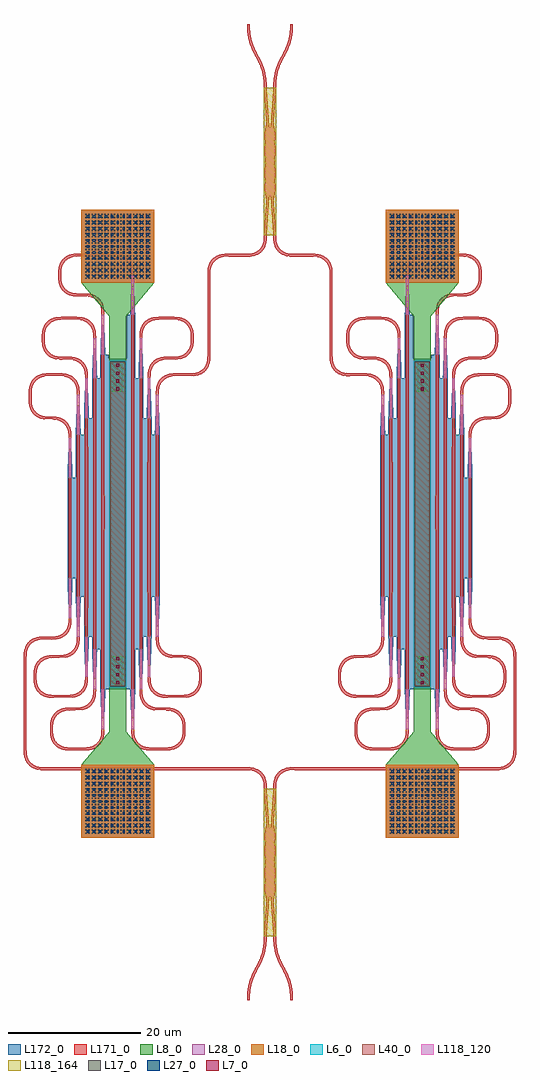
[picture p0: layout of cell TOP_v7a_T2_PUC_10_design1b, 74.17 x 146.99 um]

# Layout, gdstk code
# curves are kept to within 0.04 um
import gdstk
lib = gdstk.Library(unit=1e-6, precision=1e-09)
def R(c, l, rs):  # rectangles x0, y0, x1, y1
    for r in rs: c.add(gdstk.rectangle(r[:2], r[2:], *l))
def A(c, l, x, y, w, h, nx, ny, dx, dy):  # array of equal rectangles
    R(c, l, [(x+i*dx, y+j*dy, x+i*dx+w, y+j*dy+h) for i in range(nx) for j in range(ny)])
def P(c, l, *ps):  # polygons
    for p in ps: c.add(gdstk.Polygon(p, *l))
L6_0 = (6, 0)
L7_0 = (7, 0)
L8_0 = (8, 0)
L17_0 = (17, 0)
L18_0 = (18, 0)
L27_0 = (27, 0)
L28_0 = (28, 0)
L40_0 = (40, 0)
L118_120 = (118, 120)
L118_164 = (118, 164)
L171_0 = (171, 0)
L172_0 = (172, 0)

top_v7a_t2_puc_10_design = lib.new_cell('TOP_v7a_T2_PUC_10_design1b')
R(top_v7a_t2_puc_10_design, L6_0, [(-24.175,-26.39,-21.675,-26.29), (21.675,-26.39,24.175,-26.29), (-24.175,-26.29,-21.675,-23.79), (21.675,-26.29,24.175,-23.79), (-24.175,-23.79,-21.675,20.21), (21.675,-23.79,24.175,20.21), (-24.175,20.21,-21.675,22.71), (21.675,20.21,24.175,22.71), (-24.175,22.71,-21.675,22.81), (21.675,22.71,24.175,22.81)])
A(top_v7a_t2_puc_10_design, L7_0, -23.165, -25.94, 0.48, 0.48, 1, 4, 0, 1.2)
A(top_v7a_t2_puc_10_design, L7_0, 22.685, -25.94, 0.48, 0.48, 1, 4, 0, 1.2)
A(top_v7a_t2_puc_10_design, L7_0, -23.165, 18.28, 0.48, 0.48, 1, 4, 0, 1.2)
A(top_v7a_t2_puc_10_design, L7_0, 22.685, 18.28, 0.48, 0.48, 1, 4, 0, 1.2)
R(top_v7a_t2_puc_10_design, L8_0, [(-28.425,-49.09,-17.425,-38.09), (17.425,-49.09,28.425,-38.09), (-24.175,-33.09,-21.675,-26.09), (21.675,-33.09,24.175,-26.09), (-24.175,-26.09,-21.675,-21.71), (21.675,-26.09,24.175,-21.71), (-24.175,18.13,-21.675,22.51), (21.675,18.13,24.175,22.51), (-24.175,22.51,-21.675,29.51), (21.675,22.51,24.175,29.51), (-28.425,34.51,-17.425,45.51), (17.425,34.51,28.425,45.51)])
P(top_v7a_t2_puc_10_design, L8_0, [(21.675,29.51),(17.425,34.51),(28.425,34.51),(24.175,29.51)],
  [(17.425,-38.09),(21.675,-33.09),(24.175,-33.09),(28.425,-38.09)],
  [(-24.175,29.51),(-28.425,34.51),(-17.425,34.51),(-21.675,29.51)],
  [(-28.425,-38.09),(-24.175,-33.09),(-21.675,-33.09),(-17.425,-38.09)])
A(top_v7a_t2_puc_10_design, L17_0, -27.825, -48.49, 0.2, 0.2, 21, 21, 0.48, 0.48)
A(top_v7a_t2_puc_10_design, L17_0, 18.025, -48.49, 0.2, 0.2, 21, 21, 0.48, 0.48)
A(top_v7a_t2_puc_10_design, L17_0, -27.825, 35.11, 0.2, 0.2, 21, 21, 0.48, 0.48)
A(top_v7a_t2_puc_10_design, L17_0, 18.025, 35.11, 0.2, 0.2, 21, 21, 0.48, 0.48)
R(top_v7a_t2_puc_10_design, L18_0, [(-28.425,-49.09,-17.425,-38.09), (17.425,-49.09,28.425,-38.09), (-28.425,34.51,-17.425,45.51), (17.425,34.51,28.425,45.51)])
A(top_v7a_t2_puc_10_design, L27_0, -27.605, -48.27, 0.36, 0.36, 11, 11, 0.9, 0.9)
A(top_v7a_t2_puc_10_design, L27_0, 18.245, -48.27, 0.36, 0.36, 11, 11, 0.9, 0.9)
A(top_v7a_t2_puc_10_design, L27_0, -27.605, 35.33, 0.36, 0.36, 11, 11, 0.9, 0.9)
A(top_v7a_t2_puc_10_design, L27_0, 18.245, 35.33, 0.36, 0.36, 11, 11, 0.9, 0.9)
R(top_v7a_t2_puc_10_design, L28_0, [(-28.425,-49.09,-17.425,-38.09), (17.425,-49.09,28.425,-38.09), (-28.425,34.51,-17.425,45.51), (17.425,34.51,28.425,45.51)])
R(top_v7a_t2_puc_10_design, L40_0, [(-24.025,-26.24,-21.825,22.66), (21.825,-26.24,24.025,22.66), (-23.365,-26.14,-22.485,-21.66), (22.485,-26.14,23.365,-21.66), (-23.365,18.08,-22.485,22.56), (22.485,18.08,23.365,22.56)])
R(top_v7a_t2_puc_10_design, L118_120, [(-25.38,-32.686,-24.97,-26.665), (-20.88,-32.686,-20.47,-26.665), (20.47,-32.686,20.88,-26.665), (24.97,-32.686,25.38,-26.665), (-26.615,-26.686,-26.205,-20.665), (-19.645,-26.686,-19.235,-20.665), (19.235,-26.686,19.645,-20.665), (26.205,-26.686,26.615,-20.665), (-27.85,-24.776,-27.44,-18.755), (-18.41,-24.776,-18,-18.755), (18,-24.776,18.41,-18.755), (27.44,-24.776,27.85,-18.755), (-29.085,-18.776,-28.675,-12.755), (-17.175,-18.776,-16.765,-12.755), (16.765,-18.776,17.175,-12.755), (28.675,-18.776,29.085,-12.755), (-30.325,-15.997,-29.915,-9.976), (29.915,-15.997,30.325,-9.976), (-30.325,5.124,-29.915,11.145), (29.915,5.124,30.325,11.145), (-29.085,11.645,-28.675,17.666), (-17.175,11.645,-16.765,17.666), (16.765,11.645,17.175,17.666), (28.675,11.645,29.085,17.666), (-27.85,14.145,-27.44,20.166), (-18.41,14.145,-18,20.166), (18,14.145,18.41,20.166), (27.44,14.145,27.85,20.166), (-26.615,20.145,-26.205,26.166), (-19.645,20.145,-19.235,26.166), (19.235,20.145,19.645,26.166), (26.205,20.145,26.615,26.166), (-25.38,23.672,-24.97,29.693), (24.97,23.672,25.38,29.693), (-20.88,29.672,-20.47,35.693), (20.47,29.672,20.88,35.693)])
R(top_v7a_t2_puc_10_design, L118_164, [(-0.91,-63.865,0.91,-41.665), (-0.91,41.666,0.91,63.866)])
R(top_v7a_t2_puc_10_design, L171_0, [(-33.88,-38.87,-3.705,-38.46), (3.705,-38.87,33.88,-38.46), (-37.085,-35.665,-36.675,-34.665), (36.675,-35.665,37.085,-34.665), (-24.075,-26.19,-21.775,-23.79), (21.775,-26.19,24.075,-23.79), (-24.075,-23.79,-21.775,20.21), (21.775,-23.79,24.075,20.21), (-25.38,11.645,-24.97,23.672), (-20.88,11.645,-20.47,29.672), (20.47,11.645,20.88,29.672), (24.97,11.645,25.38,23.672), (-24.075,20.21,-21.775,22.61), (21.775,20.21,24.075,22.61), (-25.38,23.672,-24.97,29.693), (24.97,23.672,25.38,29.693), (-9.41,28.666,-9,35.666), (9,28.666,9.41,35.666), (-20.88,29.672,-20.47,35.693), (20.47,29.672,20.88,35.693), (-28.675,32.488,-28.175,32.898), (28.175,32.488,28.675,32.898), (-6.205,38.461,-3.705,38.871), (3.705,38.461,6.205,38.871), (-28.675,38.488,-23.675,38.898), (23.675,38.488,28.675,38.898)])
P(top_v7a_t2_puc_10_design, L171_0, [(15.772,-35.892),(14.937,-35.841),(14.353,-35.685),(13.787,-35.372),(13.32,-34.925),(13.029,-34.471),(12.816,-33.855),(12.742,-33.244),(12.745,-32.072),(12.841,-31.408),(13.029,-30.901),(13.389,-30.364),(13.831,-29.968),(14.353,-29.687),(14.937,-29.531),(17.175,-29.455),(17.961,-29.247),(18.433,-28.944),(18.839,-28.492),(19.09,-27.989),(19.209,-27.421),(19.209,26.901),(19.09,27.469),(18.839,27.972),(18.433,28.424),(17.918,28.747),(17.514,28.881),(16.98,28.95),(14.312,28.956),(13.402,28.816),(13.018,28.64),(12.642,28.361),(12.36,28.048),(12.124,27.644),(11.99,27.24),(11.921,26.706),(11.921,25.626),(12.014,24.997),(12.28,24.399),(12.677,23.939),(13.142,23.625),(13.679,23.441),(16.098,23.336),(16.64,23.22),(17.085,23.027),(17.607,22.644),(18.011,22.14),(18.275,21.549),(18.392,20.892),(18.455,4.953),(18.407,-25.223),(18.29,-26.108),(17.983,-26.795),(17.444,-27.396),(16.742,-27.794),(15.763,-27.974),(13.191,-27.981),(12.467,-27.931),(11.783,-27.733),(11.108,-27.291),(10.609,-26.656),(10.346,-25.945),(10.264,-24.944),(10.288,-23.994),(10.416,-23.341),(10.722,-22.711),(11.189,-22.19),(11.685,-21.865),(12.356,-21.641),(12.912,-21.578),(14.705,-21.545),(15.448,-21.357),(15.89,-21.093),(16.287,-20.696),(16.551,-20.254),(16.713,-19.705),(16.765,-18.825),(16.765,17.715),(16.713,18.595),(16.551,19.144),(16.228,19.659),(15.776,20.065),(15.273,20.316),(14.51,20.45),(11.423,20.484),(10.77,20.612),(10.231,20.86),(9.69,21.304),(9.294,21.881),(9.081,22.497),(9.003,23.219),(9,28.666),(9.41,28.666),(9.424,23.078),(9.555,22.363),(9.888,21.746),(10.478,21.216),(11.179,20.941),(11.812,20.876),(14.584,20.861),(15.139,20.79),(15.657,20.623),(16.166,20.32),(16.624,19.862),(16.969,19.253),(17.125,18.669),(17.176,17.834),(17.176,-18.944),(17.125,-19.779),(16.969,-20.363),(16.688,-20.885),(16.292,-21.327),(15.755,-21.687),(15.302,-21.861),(14.752,-21.958),(12.541,-22.033),(11.992,-22.195),(11.55,-22.459),(11.125,-22.894),(10.82,-23.473),(10.701,-24.041),(10.676,-24.972),(10.755,-25.85),(11.045,-26.543),(11.588,-27.121),(12.301,-27.467),(13.274,-27.57),(16.037,-27.533),(16.81,-27.295),(17.125,-27.093),(17.463,-26.769),(17.702,-26.422),(17.883,-25.99),(17.999,-24.972),(17.955,-9.563),(17.989,20.706),(17.896,21.335),(17.702,21.812),(17.336,22.297),(16.932,22.616),(16.508,22.816),(16.037,22.923),(13.979,22.979),(13.168,23.148),(12.686,23.388),(12.303,23.688),(11.987,24.057),(11.748,24.479),(11.535,25.273),(11.5,26.445),(11.57,27.28),(11.794,27.951),(12.227,28.568),(12.778,29),(13.427,29.265),(14.258,29.368),(17.054,29.361),(17.609,29.29),(18.127,29.123),(18.721,28.752),(19.158,28.275),(19.494,27.601),(19.622,26.948),(19.645,-26.965),(19.575,-27.8),(19.351,-28.471),(18.991,-29.008),(18.459,-29.464),(17.977,-29.704),(17.388,-29.849),(15.4,-29.902),(14.866,-29.971),(14.253,-30.212),(13.713,-30.658),(13.359,-31.208),(13.171,-31.951),(13.159,-33.274),(13.306,-34.033),(13.541,-34.492),(13.877,-34.881),(14.253,-35.16),(14.726,-35.364),(15.547,-35.476),(18.215,-35.47),(18.978,-35.336),(19.668,-34.944),(20.149,-34.373),(20.418,-33.615),(20.47,-32.735),(20.425,-2.563),(20.47,11.645),(20.88,11.645),(20.925,-2.563),(20.857,-33.468),(20.729,-34.121),(20.423,-34.751),(19.997,-35.237),(19.46,-35.597),(19.007,-35.771),(18.401,-35.873)],
  [(28.007,-35.892),(27.282,-35.856),(26.792,-35.756),(26.295,-35.547),(25.853,-35.237),(25.489,-34.839),(25.218,-34.373),(25.051,-33.855),(24.98,-33.3),(24.925,-2.563),(24.97,11.645),(25.38,11.645),(25.425,2.453),(25.38,-32.735),(25.432,-33.615),(25.701,-34.373),(26.182,-34.944),(26.872,-35.336),(27.635,-35.47),(30.303,-35.476),(31.124,-35.364),(31.597,-35.16),(31.973,-34.881),(32.309,-34.492),(32.544,-34.033),(32.691,-33.274),(32.679,-31.951),(32.491,-31.208),(32.137,-30.658),(31.597,-30.212),(30.984,-29.971),(30.45,-29.902),(28.462,-29.849),(27.873,-29.704),(27.391,-29.464),(26.859,-29.008),(26.499,-28.471),(26.275,-27.8),(26.205,-26.965),(26.228,26.948),(26.356,27.601),(26.692,28.275),(27.129,28.752),(27.723,29.123),(28.241,29.29),(28.796,29.361),(31.759,29.361),(32.477,29.251),(33.119,28.972),(33.66,28.528),(34.056,27.951),(34.28,27.28),(34.35,26.445),(34.315,25.273),(34.102,24.479),(33.863,24.057),(33.547,23.688),(33.164,23.388),(32.682,23.148),(31.871,22.979),(29.813,22.923),(29.342,22.816),(28.958,22.64),(28.514,22.297),(28.171,21.853),(27.954,21.335),(27.864,20.754),(27.876,-25.511),(27.954,-25.945),(28.104,-26.339),(28.328,-26.696),(28.652,-27.034),(29.342,-27.426),(30.252,-27.566),(32.92,-27.56),(33.727,-27.41),(34.186,-27.175),(34.638,-26.769),(34.961,-26.254),(35.123,-25.705),(35.174,-24.58),(35.095,-23.702),(34.854,-23.089),(34.443,-22.581),(33.943,-22.235),(33.406,-22.051),(30.987,-21.946),(30.548,-21.861),(30.095,-21.687),(29.558,-21.327),(29.162,-20.885),(28.881,-20.363),(28.725,-19.779),(28.674,-18.944),(28.674,17.834),(28.756,18.835),(29.074,19.64),(29.329,19.988),(29.684,20.32),(30.445,20.72),(31.433,20.868),(34.013,20.836),(34.807,20.623),(35.522,20.144),(35.838,19.775),(36.077,19.353),(36.219,18.944),(36.307,18.392),(36.29,16.252),(36.174,15.71),(35.898,15.126),(35.316,14.491),(34.555,14.091),(33.846,13.958),(32.191,13.888),(31.433,13.619),(30.989,13.276),(30.695,12.912),(30.47,12.448),(30.363,11.977),(30.33,-16.39),(30.405,-17.071),(30.579,-17.56),(30.925,-18.06),(31.393,-18.447),(31.817,-18.647),(32.288,-18.754),(34.606,-18.81),(35.417,-18.979),(35.899,-19.219),(36.282,-19.519),(36.628,-19.932),(36.898,-20.46),(37.035,-20.994),(37.085,-21.718),(37.085,-34.665),(36.675,-34.665),(36.674,-21.801),(36.623,-21.068),(36.497,-20.606),(36.305,-20.23),(36.011,-19.866),(35.647,-19.572),(35.183,-19.347),(34.42,-19.213),(32.172,-19.16),(31.583,-19.015),(31.101,-18.775),(30.569,-18.319),(30.209,-17.782),(29.996,-17.166),(29.918,-16.444),(29.914,11.313),(29.957,12.093),(30.102,12.682),(30.372,13.21),(30.718,13.623),(31.193,13.979),(31.685,14.199),(32.117,14.3),(33.708,14.364),(34.379,14.481),(35.04,14.828),(35.519,15.339),(35.754,15.798),(35.877,16.313),(35.901,18.254),(35.835,18.74),(35.701,19.144),(35.465,19.548),(35.183,19.861),(34.598,20.247),(33.855,20.435),(31.684,20.46),(30.806,20.381),(30.193,20.14),(29.685,19.729),(29.339,19.229),(29.137,18.595),(29.085,17.715),(29.086,-18.972),(29.146,-19.754),(29.339,-20.339),(29.685,-20.839),(30.193,-21.25),(30.577,-21.426),(31.096,-21.539),(32.994,-21.581),(33.658,-21.677),(34.307,-21.942),(34.858,-22.374),(35.291,-22.991),(35.515,-23.662),(35.585,-24.497),(35.535,-25.779),(35.379,-26.363),(35.034,-26.972),(34.576,-27.43),(34.067,-27.733),(33.549,-27.9),(32.994,-27.971),(30.477,-27.982),(29.313,-27.861),(28.86,-27.687),(28.449,-27.43),(28.094,-27.098),(27.784,-26.656),(27.591,-26.211),(27.482,-25.724),(27.395,-9.563),(27.475,21.059),(27.627,21.703),(27.927,22.275),(28.323,22.717),(28.86,23.077),(29.313,23.251),(29.863,23.348),(32.074,23.423),(32.623,23.585),(33.065,23.849),(33.462,24.246),(33.744,24.731),(33.888,25.237),(33.939,25.97),(33.902,26.998),(33.726,27.644),(33.34,28.229),(32.791,28.663),(32.314,28.857),(31.685,28.95),(28.578,28.923),(27.805,28.685),(27.49,28.483),(27.152,28.159),(26.76,27.469),(26.62,26.559),(26.629,-27.274),(26.732,-27.9),(26.96,-28.413),(27.347,-28.881),(27.847,-29.227),(28.241,-29.377),(28.675,-29.455),(30.468,-29.488),(31.079,-29.562),(31.695,-29.775),(32.232,-30.135),(32.658,-30.621),(32.964,-31.251),(33.092,-31.904),(33.116,-32.854),(33.045,-33.8),(32.821,-34.471),(32.388,-35.088),(31.837,-35.52),(31.293,-35.756),(30.692,-35.868)],
  [(20.47,35.693),(20.493,36.475),(20.605,37.076),(20.841,37.62),(21.197,38.095),(21.656,38.471),(22.24,38.747),(22.893,38.875),(23.675,38.898),(23.675,38.488),(22.94,38.462),(22.416,38.357),(21.948,38.143),(21.544,37.824),(21.225,37.42),(21.011,36.952),(20.906,36.428),(20.88,35.693)],
  [(31.47,35.693),(31.444,36.428),(31.366,36.862),(31.194,37.298),(30.933,37.686),(30.481,38.092),(29.978,38.343),(29.41,38.462),(28.675,38.488),(28.675,38.898),(29.457,38.875),(30.11,38.747),(30.74,38.441),(31.226,38.015),(31.674,37.28),(31.857,36.475),(31.88,35.693)],
  [(28.787,32.487),(28.675,32.488),(28.675,32.898),(29.41,32.924),(29.934,33.029),(30.402,33.243),(30.806,33.562),(31.125,33.966),(31.339,34.434),(31.444,34.958),(31.47,35.693),(31.88,35.693),(31.857,34.911),(31.745,34.31),(31.509,33.766),(31.153,33.291),(30.694,32.915),(30.11,32.639),(29.568,32.523)],
  [(24.97,29.693),(24.993,30.475),(25.105,31.076),(25.341,31.62),(25.697,32.095),(26.156,32.471),(26.74,32.747),(27.393,32.875),(28.175,32.898),(28.175,32.488),(27.44,32.462),(26.916,32.357),(26.448,32.143),(26.044,31.824),(25.725,31.42),(25.511,30.952),(25.406,30.428),(25.38,29.693)],
  [(21.775,22.61),(21.798,22.674),(21.875,22.71),(23.975,22.71),(24.039,22.687),(24.075,22.61)],
  [(21.875,-26.29),(21.811,-26.267),(21.775,-26.19),(24.075,-26.19),(24.052,-26.254),(23.975,-26.29)],
  [(-17.843,-35.892),(-18.568,-35.856),(-19.058,-35.756),(-19.555,-35.547),(-19.997,-35.237),(-20.361,-34.839),(-20.632,-34.373),(-20.799,-33.855),(-20.87,-33.3),(-20.925,-2.563),(-20.88,11.645),(-20.47,11.645),(-20.425,2.453),(-20.47,-32.735),(-20.418,-33.615),(-20.149,-34.373),(-19.668,-34.944),(-18.978,-35.336),(-18.215,-35.47),(-15.547,-35.476),(-14.726,-35.364),(-14.253,-35.16),(-13.877,-34.881),(-13.541,-34.492),(-13.306,-34.033),(-13.159,-33.274),(-13.171,-31.951),(-13.359,-31.208),(-13.713,-30.658),(-14.253,-30.212),(-14.866,-29.971),(-15.4,-29.902),(-17.388,-29.849),(-17.977,-29.704),(-18.459,-29.464),(-18.991,-29.008),(-19.351,-28.471),(-19.575,-27.8),(-19.645,-26.965),(-19.622,26.948),(-19.494,27.601),(-19.158,28.275),(-18.721,28.752),(-18.127,29.123),(-17.609,29.29),(-17.054,29.361),(-14.091,29.361),(-13.373,29.251),(-12.731,28.972),(-12.19,28.528),(-11.794,27.951),(-11.57,27.28),(-11.5,26.445),(-11.535,25.273),(-11.748,24.479),(-11.987,24.057),(-12.303,23.688),(-12.686,23.388),(-13.168,23.148),(-13.979,22.979),(-16.037,22.923),(-16.508,22.816),(-16.892,22.64),(-17.336,22.297),(-17.679,21.853),(-17.896,21.335),(-17.986,20.754),(-17.986,-25.364),(-17.92,-25.85),(-17.786,-26.254),(-17.336,-26.907),(-17.011,-27.175),(-16.64,-27.375),(-16.231,-27.501),(-15.745,-27.56),(-12.93,-27.56),(-12.123,-27.41),(-11.664,-27.175),(-11.212,-26.769),(-10.889,-26.254),(-10.727,-25.705),(-10.676,-24.58),(-10.755,-23.702),(-10.996,-23.089),(-11.407,-22.581),(-11.907,-22.235),(-12.444,-22.051),(-14.863,-21.946),(-15.302,-21.861),(-15.755,-21.687),(-16.292,-21.327),(-16.688,-20.885),(-16.969,-20.363),(-17.125,-19.779),(-17.176,-18.944),(-17.172,18.113),(-17.069,18.944),(-16.804,19.593),(-16.372,20.144),(-15.755,20.577),(-15.302,20.751),(-14.696,20.853),(-11.812,20.876),(-11.179,20.941),(-10.478,21.216),(-9.888,21.746),(-9.555,22.363),(-9.424,23.078),(-9.41,28.666),(-9,28.666),(-9.018,22.94),(-9.151,22.231),(-9.519,21.513),(-9.803,21.188),(-10.186,20.888),(-10.618,20.667),(-11.036,20.542),(-11.758,20.464),(-14.558,20.447),(-15.044,20.381),(-15.533,20.207),(-16.033,19.861),(-16.444,19.353),(-16.685,18.74),(-16.76,18.059),(-16.765,-18.825),(-16.713,-19.705),(-16.551,-20.254),(-16.287,-20.696),(-15.89,-21.093),(-15.448,-21.357),(-14.705,-21.545),(-12.912,-21.578),(-12.301,-21.652),(-11.685,-21.865),(-11.148,-22.225),(-10.692,-22.757),(-10.385,-23.444),(-10.275,-24.162),(-10.275,-25.39),(-10.346,-25.945),(-10.513,-26.463),(-10.752,-26.885),(-11.068,-27.254),(-11.451,-27.554),(-11.883,-27.775),(-12.356,-27.911),(-12.912,-27.974),(-15.763,-27.974),(-16.319,-27.911),(-16.792,-27.775),(-17.401,-27.43),(-17.859,-26.972),(-18.204,-26.363),(-18.36,-25.779),(-18.411,-24.944),(-18.455,-9.563),(-18.375,21.059),(-18.223,21.703),(-17.923,22.275),(-17.527,22.717),(-16.99,23.077),(-16.537,23.251),(-16.098,23.336),(-13.679,23.441),(-13.142,23.625),(-12.712,23.908),(-12.306,24.36),(-12.055,24.863),(-11.936,25.431),(-11.911,26.362),(-11.99,27.24),(-12.306,27.972),(-12.574,28.297),(-12.899,28.565),(-13.631,28.881),(-14.509,28.96),(-17.369,28.909),(-17.787,28.8),(-18.167,28.616),(-18.785,28.048),(-19.131,27.335),(-19.234,26.362),(-19.209,-27.421),(-19.09,-27.989),(-18.839,-28.492),(-18.433,-28.944),(-18.003,-29.227),(-17.609,-29.377),(-17.175,-29.455),(-15.382,-29.488),(-14.826,-29.551),(-14.253,-29.729),(-13.744,-30.032),(-13.286,-30.49),(-12.983,-30.999),(-12.785,-31.683),(-12.735,-32.407),(-12.758,-33.468),(-12.922,-34.223),(-13.286,-34.882),(-13.831,-35.404),(-14.403,-35.704),(-15.047,-35.856)],
  [(-30.078,-35.892),(-31.024,-35.821),(-31.695,-35.597),(-32.312,-35.164),(-32.744,-34.613),(-32.995,-34.018),(-33.108,-33.244),(-33.092,-31.904),(-32.909,-31.099),(-32.658,-30.621),(-32.312,-30.208),(-31.929,-29.908),(-31.447,-29.668),(-30.636,-29.499),(-28.481,-29.429),(-28.063,-29.32),(-27.643,-29.111),(-27.183,-28.714),(-26.869,-28.249),(-26.695,-27.76),(-26.62,-27.079),(-26.62,26.559),(-26.732,27.38),(-27.093,28.086),(-27.723,28.64),(-28.481,28.909),(-29.214,28.96),(-31.685,28.95),(-32.314,28.857),(-32.791,28.663),(-33.34,28.229),(-33.726,27.644),(-33.902,26.998),(-33.939,25.97),(-33.888,25.237),(-33.744,24.731),(-33.462,24.246),(-33.065,23.849),(-32.623,23.585),(-32.074,23.423),(-29.863,23.348),(-29.313,23.251),(-28.86,23.077),(-28.323,22.717),(-27.927,22.275),(-27.627,21.703),(-27.475,21.059),(-27.395,-9.563),(-27.482,-25.724),(-27.591,-26.211),(-27.784,-26.656),(-28.094,-27.098),(-28.449,-27.43),(-28.86,-27.687),(-29.313,-27.861),(-30.477,-27.982),(-32.994,-27.971),(-33.549,-27.9),(-34.067,-27.733),(-34.576,-27.43),(-35.034,-26.972),(-35.379,-26.363),(-35.535,-25.779),(-35.585,-24.497),(-35.515,-23.662),(-35.291,-22.991),(-34.858,-22.374),(-34.307,-21.942),(-33.658,-21.677),(-32.994,-21.581),(-31.096,-21.539),(-30.577,-21.426),(-30.193,-21.25),(-29.685,-20.839),(-29.339,-20.339),(-29.146,-19.754),(-29.086,-18.972),(-29.085,17.715),(-29.137,18.595),(-29.339,19.229),(-29.685,19.729),(-30.193,20.14),(-30.806,20.381),(-31.684,20.46),(-33.855,20.435),(-34.598,20.247),(-35.183,19.861),(-35.465,19.548),(-35.701,19.144),(-35.835,18.74),(-35.901,18.254),(-35.877,16.313),(-35.754,15.798),(-35.519,15.339),(-35.04,14.828),(-34.379,14.481),(-33.708,14.364),(-32.117,14.3),(-31.685,14.199),(-31.193,13.979),(-30.718,13.623),(-30.372,13.21),(-30.102,12.682),(-29.957,12.093),(-29.914,11.313),(-29.918,-16.444),(-29.996,-17.166),(-30.209,-17.782),(-30.569,-18.319),(-31.101,-18.775),(-31.583,-19.015),(-32.172,-19.16),(-34.42,-19.213),(-35.183,-19.347),(-35.647,-19.572),(-36.011,-19.866),(-36.305,-20.23),(-36.497,-20.606),(-36.623,-21.068),(-36.674,-21.801),(-36.675,-34.665),(-37.085,-34.665),(-37.085,-21.718),(-37.035,-20.994),(-36.898,-20.46),(-36.658,-19.978),(-36.358,-19.595),(-35.945,-19.249),(-35.417,-18.979),(-34.606,-18.81),(-32.288,-18.754),(-31.817,-18.647),(-31.393,-18.447),(-30.925,-18.06),(-30.579,-17.56),(-30.405,-17.071),(-30.33,-16.39),(-30.363,11.977),(-30.47,12.448),(-30.695,12.912),(-30.989,13.276),(-31.433,13.619),(-32.191,13.888),(-33.846,13.958),(-34.555,14.091),(-35.316,14.491),(-35.898,15.126),(-36.174,15.71),(-36.29,16.252),(-36.307,18.392),(-36.219,18.944),(-36.077,19.353),(-35.838,19.775),(-35.522,20.144),(-34.807,20.623),(-34.013,20.836),(-31.433,20.868),(-30.445,20.72),(-29.684,20.32),(-29.329,19.988),(-29.074,19.64),(-28.756,18.835),(-28.674,17.834),(-28.674,-18.944),(-28.725,-19.779),(-28.881,-20.363),(-29.162,-20.885),(-29.558,-21.327),(-30.095,-21.687),(-30.548,-21.861),(-30.987,-21.946),(-33.406,-22.051),(-33.943,-22.235),(-34.443,-22.581),(-34.854,-23.089),(-35.095,-23.702),(-35.174,-24.58),(-35.123,-25.705),(-34.961,-26.254),(-34.638,-26.769),(-34.186,-27.175),(-33.727,-27.41),(-32.92,-27.56),(-30.252,-27.566),(-29.342,-27.426),(-28.652,-27.034),(-28.328,-26.696),(-28.104,-26.339),(-27.954,-25.945),(-27.876,-25.511),(-27.864,20.754),(-27.954,21.335),(-28.171,21.853),(-28.514,22.297),(-28.958,22.64),(-29.342,22.816),(-29.813,22.923),(-31.871,22.979),(-32.682,23.148),(-33.164,23.388),(-33.547,23.688),(-33.863,24.057),(-34.102,24.479),(-34.315,25.273),(-34.35,26.445),(-34.28,27.28),(-34.056,27.951),(-33.623,28.568),(-33.072,29),(-32.423,29.265),(-31.592,29.368),(-28.796,29.361),(-28.241,29.29),(-27.723,29.123),(-27.129,28.752),(-26.692,28.275),(-26.356,27.601),(-26.228,26.948),(-26.205,-26.965),(-26.275,-27.8),(-26.499,-28.471),(-26.859,-29.008),(-27.391,-29.464),(-27.873,-29.704),(-28.462,-29.849),(-30.45,-29.902),(-30.984,-29.971),(-31.597,-30.212),(-32.137,-30.658),(-32.491,-31.208),(-32.679,-31.951),(-32.691,-33.274),(-32.544,-34.033),(-32.309,-34.492),(-31.973,-34.881),(-31.597,-35.16),(-31.124,-35.364),(-30.303,-35.476),(-27.635,-35.47),(-26.872,-35.336),(-26.182,-34.944),(-25.701,-34.373),(-25.432,-33.615),(-25.38,-32.735),(-25.425,-2.563),(-25.38,11.645),(-24.97,11.645),(-24.925,-2.563),(-24.993,-33.468),(-25.121,-34.121),(-25.427,-34.751),(-25.853,-35.237),(-26.39,-35.597),(-26.843,-35.771),(-27.449,-35.873)],
  [(-20.88,35.693),(-20.906,36.428),(-20.984,36.862),(-21.156,37.298),(-21.417,37.686),(-21.869,38.092),(-22.372,38.343),(-22.94,38.462),(-23.675,38.488),(-23.675,38.898),(-22.893,38.875),(-22.24,38.747),(-21.61,38.441),(-21.124,38.015),(-20.676,37.28),(-20.493,36.475),(-20.47,35.693)],
  [(-31.88,35.693),(-31.857,36.475),(-31.745,37.076),(-31.509,37.62),(-31.153,38.095),(-30.694,38.471),(-30.11,38.747),(-29.457,38.875),(-28.675,38.898),(-28.675,38.488),(-29.41,38.462),(-29.934,38.357),(-30.402,38.143),(-30.806,37.824),(-31.125,37.42),(-31.339,36.952),(-31.444,36.428),(-31.47,35.693)],
  [(-28.843,32.487),(-29.568,32.523),(-30.11,32.639),(-30.694,32.915),(-31.153,33.291),(-31.509,33.766),(-31.745,34.31),(-31.857,34.911),(-31.88,35.693),(-31.47,35.693),(-31.444,34.958),(-31.339,34.434),(-31.125,33.966),(-30.806,33.562),(-30.402,33.243),(-29.934,33.029),(-29.41,32.924),(-28.675,32.898),(-28.675,32.488)],
  [(-25.38,29.693),(-25.406,30.428),(-25.484,30.862),(-25.656,31.298),(-25.917,31.686),(-26.369,32.092),(-26.872,32.343),(-27.44,32.462),(-28.175,32.488),(-28.175,32.898),(-27.393,32.875),(-26.74,32.747),(-26.11,32.441),(-25.624,32.015),(-25.176,31.28),(-24.993,30.475),(-24.97,29.693)],
  [(-24.075,22.61),(-24.052,22.674),(-23.975,22.71),(-21.875,22.71),(-21.811,22.687),(-21.775,22.61)],
  [(-23.975,-26.29),(-24.039,-26.267),(-24.075,-26.19),(-21.775,-26.19),(-21.798,-26.254),(-21.875,-26.29)],
  [(-0.91,-63.865),(-0.536,-58.675),(-0.731,-57.572),(-0.792,-56.52),(-0.728,-53.206),(-0.79,-48.899),(-0.731,-47.958),(-0.537,-46.801),(-0.91,-41.665),(-0.5,-41.665),(-0.144,-47.237),(-0.095,-47.531),(0,-47.637),(0.095,-47.531),(0.144,-47.237),(0.5,-41.665),(0.91,-41.665),(0.536,-46.855),(0.731,-47.958),(0.792,-49.01),(0.728,-52.324),(0.79,-56.631),(0.731,-57.572),(0.537,-58.729),(0.91,-63.865),(0.5,-63.865),(0.144,-58.293),(0.095,-57.999),(0,-57.893),(-0.095,-57.999),(-0.144,-58.293),(-0.5,-63.865)],
  [(-0.91,41.666),(-0.536,46.856),(-0.731,47.959),(-0.792,49.011),(-0.728,52.325),(-0.79,56.632),(-0.731,57.573),(-0.537,58.73),(-0.91,63.866),(-0.5,63.866),(-0.144,58.294),(-0.095,58),(0,57.894),(0.095,58),(0.144,58.294),(0.5,63.866),(0.91,63.866),(0.536,58.676),(0.731,57.573),(0.792,56.521),(0.728,53.207),(0.79,48.9),(0.731,47.959),(0.537,46.802),(0.91,41.666),(0.5,41.666),(0.144,47.238),(0.095,47.532),(0,47.638),(-0.095,47.532),(-0.144,47.238),(-0.5,41.666)],
  [(3.05,-73.495),(2.96,-72.047),(2.681,-70.758),(2.261,-69.679),(1.212,-67.589),(0.801,-66.417),(0.581,-65.267),(0.5,-63.865),(0.91,-63.865),(1,-65.313),(1.279,-66.602),(1.699,-67.681),(2.748,-69.771),(3.159,-70.943),(3.379,-72.093),(3.46,-73.495)],
  [(-3.46,-73.495),(-3.355,-71.915),(-3.061,-70.604),(-2.675,-69.608),(-1.648,-67.57),(-1.279,-66.602),(-1,-65.313),(-0.91,-63.865),(-0.5,-63.865),(-0.605,-65.445),(-0.899,-66.756),(-1.285,-67.752),(-2.312,-69.79),(-2.681,-70.758),(-2.96,-72.047),(-3.05,-73.495)],
  [(0.5,63.866),(0.605,65.446),(0.899,66.757),(1.285,67.753),(2.312,69.791),(2.681,70.759),(2.96,72.048),(3.05,73.496),(3.46,73.496),(3.355,71.916),(3.061,70.605),(2.675,69.609),(1.648,67.571),(1.279,66.603),(1,65.314),(0.91,63.866)],
  [(-0.91,63.866),(-1,65.314),(-1.279,66.603),(-1.699,67.682),(-2.748,69.772),(-3.159,70.944),(-3.379,72.094),(-3.46,73.496),(-3.05,73.496),(-2.96,72.048),(-2.681,70.759),(-2.261,69.68),(-1.212,67.59),(-0.801,66.418),(-0.581,65.268),(-0.5,63.866)],
  [(0.5,-41.665),(0.523,-40.883),(0.635,-40.282),(0.871,-39.738),(1.227,-39.263),(1.686,-38.887),(2.27,-38.611),(2.923,-38.483),(3.705,-38.46),(3.705,-38.87),(2.97,-38.896),(2.446,-39.001),(1.978,-39.215),(1.574,-39.534),(1.255,-39.938),(1.041,-40.406),(0.936,-40.93),(0.91,-41.665)],
  [(33.992,-38.871),(33.88,-38.87),(33.88,-38.46),(34.615,-38.434),(35.139,-38.329),(35.607,-38.115),(36.011,-37.796),(36.33,-37.392),(36.544,-36.924),(36.649,-36.4),(36.675,-35.665),(37.085,-35.665),(37.062,-36.447),(36.95,-37.048),(36.714,-37.592),(36.358,-38.067),(35.899,-38.443),(35.315,-38.719),(34.773,-38.835)],
  [(-0.91,-41.665),(-0.936,-40.93),(-1.014,-40.496),(-1.186,-40.06),(-1.447,-39.672),(-1.899,-39.266),(-2.402,-39.015),(-2.97,-38.896),(-3.705,-38.87),(-3.705,-38.46),(-2.923,-38.483),(-2.27,-38.611),(-1.64,-38.917),(-1.154,-39.343),(-0.706,-40.078),(-0.523,-40.883),(-0.5,-41.665)],
  [(-34.048,-38.871),(-34.773,-38.835),(-35.315,-38.719),(-35.899,-38.443),(-36.358,-38.067),(-36.714,-37.592),(-36.95,-37.048),(-37.062,-36.447),(-37.085,-35.665),(-36.675,-35.665),(-36.649,-36.4),(-36.544,-36.924),(-36.33,-37.392),(-36.011,-37.796),(-35.607,-38.115),(-35.139,-38.329),(-34.615,-38.434),(-33.88,-38.46),(-33.88,-38.87)],
  [(3.537,38.46),(2.812,38.496),(2.27,38.612),(1.686,38.888),(1.227,39.264),(0.871,39.739),(0.635,40.283),(0.523,40.884),(0.5,41.666),(0.91,41.666),(0.936,40.931),(1.041,40.407),(1.255,39.939),(1.574,39.535),(1.978,39.216),(2.446,39.002),(2.97,38.897),(3.705,38.871),(3.705,38.461)],
  [(9,35.666),(8.974,36.401),(8.896,36.835),(8.724,37.271),(8.463,37.659),(8.011,38.065),(7.508,38.316),(6.94,38.435),(6.205,38.461),(6.205,38.871),(6.987,38.848),(7.64,38.72),(8.27,38.414),(8.756,37.988),(9.204,37.253),(9.387,36.448),(9.41,35.666)],
  [(-3.593,38.46),(-3.705,38.461),(-3.705,38.871),(-2.97,38.897),(-2.446,39.002),(-1.978,39.216),(-1.574,39.535),(-1.255,39.939),(-1.041,40.407),(-0.936,40.931),(-0.91,41.666),(-0.5,41.666),(-0.523,40.884),(-0.635,40.283),(-0.871,39.739),(-1.227,39.264),(-1.686,38.888),(-2.27,38.612),(-2.812,38.496)],
  [(-9.41,35.666),(-9.387,36.448),(-9.275,37.049),(-9.039,37.593),(-8.683,38.068),(-8.224,38.444),(-7.64,38.72),(-6.987,38.848),(-6.205,38.871),(-6.205,38.461),(-6.94,38.435),(-7.464,38.33),(-7.932,38.116),(-8.336,37.797),(-8.655,37.393),(-8.869,36.925),(-8.974,36.401),(-9,35.666)])
R(top_v7a_t2_puc_10_design, L172_0, [(-24.55,-26.665,-21.3,-23.415), (21.3,-26.665,24.55,-23.415), (-24.55,-24.165,-21.3,20.585), (21.3,-24.165,24.55,20.585), (-25.537,11.645,-24.287,23.672), (-21.563,11.645,-20.313,29.672), (20.313,11.645,21.563,29.672), (24.287,11.645,25.537,23.672), (-24.55,19.835,-21.3,23.085), (21.3,19.835,24.55,23.085)])
P(top_v7a_t2_puc_10_design, L172_0, [(20.47,-31.085),(20.313,-26.731),(20.313,-20.665),(19.802,-20.665),(19.645,-25.085),(19.235,-25.085),(19.086,-21.105),(19.078,-18.755),(18.567,-18.755),(18.41,-23.175),(18,-23.175),(17.843,-18.821),(17.843,-12.755),(17.332,-12.755),(17.175,-17.175),(16.765,-17.175),(16.612,-13.026),(16.608,11.711),(16.764,16.053),(17.175,16.065),(17.332,11.645),(17.843,11.645),(17.847,14.416),(18,18.565),(18.41,18.565),(18.567,14.145),(19.078,14.145),(19.078,20.211),(19.235,24.565),(19.645,24.565),(19.802,20.145),(20.328,20.145),(20.328,11.645),(21.563,11.645),(21.563,-26.665),(21.037,-26.665),(20.88,-31.085)],
  [(24.97,-31.085),(24.813,-26.665),(24.287,-26.665),(24.287,11.645),(25.522,11.645),(25.522,20.145),(26.048,20.145),(26.205,24.565),(26.615,24.565),(26.772,20.211),(26.772,14.145),(27.283,14.145),(27.44,18.565),(27.85,18.565),(28.003,14.416),(28.007,11.645),(28.518,11.645),(28.675,16.065),(29.085,16.065),(29.242,11.711),(29.242,5.124),(29.758,5.124),(29.915,9.544),(30.325,9.544),(30.482,5.19),(30.464,-10.784),(30.325,-14.396),(29.915,-14.396),(29.758,-9.976),(29.242,-9.976),(29.238,-13.026),(29.085,-17.175),(28.675,-17.175),(28.518,-12.755),(28.007,-12.755),(28.007,-18.821),(27.85,-23.175),(27.44,-23.175),(27.283,-18.755),(26.772,-18.755),(26.764,-21.105),(26.615,-25.085),(26.205,-25.085),(26.048,-20.665),(25.537,-20.665),(25.537,-26.731),(25.381,-31.073)],
  [(20.325,29.672),(20.47,34.092),(20.88,34.092),(21.025,29.672)],
  [(24.825,23.672),(24.97,28.092),(25.38,28.092),(25.525,23.672)],
  [(-20.88,-31.085),(-21.037,-26.665),(-21.563,-26.665),(-21.563,11.645),(-20.328,11.645),(-20.328,20.145),(-19.802,20.145),(-19.645,24.565),(-19.235,24.565),(-19.078,20.211),(-19.078,14.145),(-18.567,14.145),(-18.41,18.565),(-18,18.565),(-17.847,14.416),(-17.843,11.645),(-17.332,11.645),(-17.175,16.065),(-16.764,16.053),(-16.608,11.711),(-16.626,-13.563),(-16.765,-17.175),(-17.175,-17.175),(-17.332,-12.755),(-17.843,-12.755),(-17.843,-18.821),(-18,-23.175),(-18.41,-23.175),(-18.567,-18.755),(-19.078,-18.755),(-19.086,-21.105),(-19.235,-25.085),(-19.645,-25.085),(-19.802,-20.665),(-20.313,-20.665),(-20.313,-26.731),(-20.469,-31.073)],
  [(-25.38,-31.085),(-25.537,-26.731),(-25.537,-20.665),(-26.048,-20.665),(-26.205,-25.085),(-26.615,-25.085),(-26.764,-21.105),(-26.772,-18.755),(-27.283,-18.755),(-27.44,-23.175),(-27.85,-23.175),(-28.007,-18.821),(-28.007,-12.755),(-28.518,-12.755),(-28.675,-17.175),(-29.085,-17.175),(-29.238,-13.026),(-29.242,-9.976),(-29.758,-9.976),(-29.915,-14.396),(-30.325,-14.396),(-30.478,-10.247),(-30.482,5.19),(-30.325,9.544),(-29.915,9.544),(-29.758,5.124),(-29.242,5.124),(-29.242,11.711),(-29.085,16.065),(-28.675,16.065),(-28.518,11.645),(-28.007,11.645),(-28.003,14.416),(-27.85,18.565),(-27.44,18.565),(-27.283,14.145),(-26.772,14.145),(-26.772,20.211),(-26.615,24.565),(-26.205,24.565),(-26.048,20.145),(-25.522,20.145),(-25.522,11.645),(-24.287,11.645),(-24.287,-26.665),(-24.813,-26.665),(-24.97,-31.085)],
  [(-21.025,29.672),(-20.88,34.092),(-20.47,34.092),(-20.325,29.672)],
  [(-25.525,23.672),(-25.38,28.092),(-24.97,28.092),(-24.825,23.672)])

lib.write_gds('TOP_v7a_T2_PUC_10_design1b.gds')
